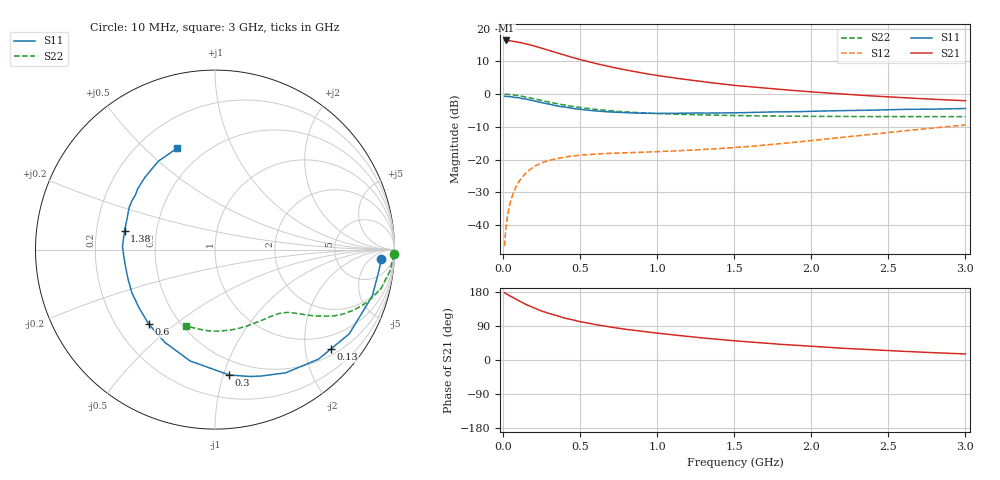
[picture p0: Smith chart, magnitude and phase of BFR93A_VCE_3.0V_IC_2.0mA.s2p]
! Infineon Technologies  Discrete & RF Semiconductors
! BFR93A
! VCE =  3.0 V,  IC =  2.0 mA
! Common Emitter S-Parameters:  Nov 2015
# GHz  S  MA  R  50
!  f  S11  S21  S12  S22
! GHz  MAG  ANG  MAG  ANG  MAG  ANG  MAG  ANG
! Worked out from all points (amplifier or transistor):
!   180 points, 10 MHz to 3 GHz, reference 50 ohm
!   highest |S21| = 16.4 dB at 20 MHz (marker M1)
!   |S21| within 3 dB of that: start of sweep to 296 MHz
!   unconditionally stable (mu >= 1): 979.7 MHz to 2.832 GHz
!   at 160 MHz: K = 0.20, MSG = 19.4 dB, |S12| = -23.6 dB
!   at 1.22 GHz: K = 1.12, MAG = 8.6 dB, |S12| = -17.1 dB
!   at 3 GHz: K = 0.97, MSG = 3.7 dB, |S12| = -9.4 dB
!   S11 on the Smith chart (normalised r, x): 10 MHz: 17, -13; 130 MHz: 0.64, -2.56; 300 MHz: 0.38, -1.05; 600 MHz: 0.34, -0.41; 1.38 GHz: 0.32, +0.09; 3 GHz: 0.35, +0.63
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0.01  0.9265 -3.3  6.557 177.5  0.0048 87.9  0.9952 -1.5
0.02  0.9224 -6.5  6.575 174.9  0.0097 85.3  0.9928 -2.8
0.035  0.9146 -11.4  6.516 171.4  0.0167 82.2  0.9866 -4.9
0.055  0.9077 -17.9  6.446 166.8  0.0259 79.3  0.978 -7.6
0.1  0.8832 -32.1  6.21 157.0  0.0454 72.0  0.9491 -13.4
0.13  0.8505 -40.6  5.956 150.7  0.0561 66.6  0.9186 -16.6
0.15  0.8397 -46.6  5.829 146.3  0.0635 64.0  0.8999 -18.9
0.2  0.7916 -60.1  5.432 137.3  0.0783 58.0  0.8482 -23.2
0.24  0.7502 -69.9  5.092 130.8  0.0872 53.3  0.8073 -26.1
0.3  0.7031 -83.5  4.625 122.4  0.0979 48.3  0.7521 -29.5
0.4  0.6358 -102.6  3.91 110.5  0.1099 42.3  0.6764 -33.2
0.5  0.5877 -118.3  3.357 101.1  0.1172 38.4  0.6228 -35.7
0.52  0.5788 -120.8  3.267 99.7  0.1181 38.0  0.6149 -36.1
0.6  0.5556 -131.7  2.931 93.4  0.122 36.3  0.5838 -37.6
0.7  0.5332 -142.5  2.591 86.6  0.1253 35.4  0.5553 -39.3
0.8  0.5219 -152.5  2.322 80.8  0.1275 35.3  0.5339 -41.0
1.02  0.5075 -170.2  1.891 70.0  0.1329 37.1  0.5032 -45.3
1.38  0.5148 168.1  1.464 55.2  0.1463 43.0  0.4774 -53.8
1.52  0.5184 161.2  1.346 50.1  0.1542 45.7  0.4701 -57.8
2.02  0.5487 141.1  1.073 35.7  0.1975 52.9  0.4579 -73.3
2.52  0.5781 124.9  0.901 24.5  0.263 54.1  0.4539 -91.2
3  0.6034 110.8  0.792 16.0  0.3377 50.7  0.4543 -110.8
